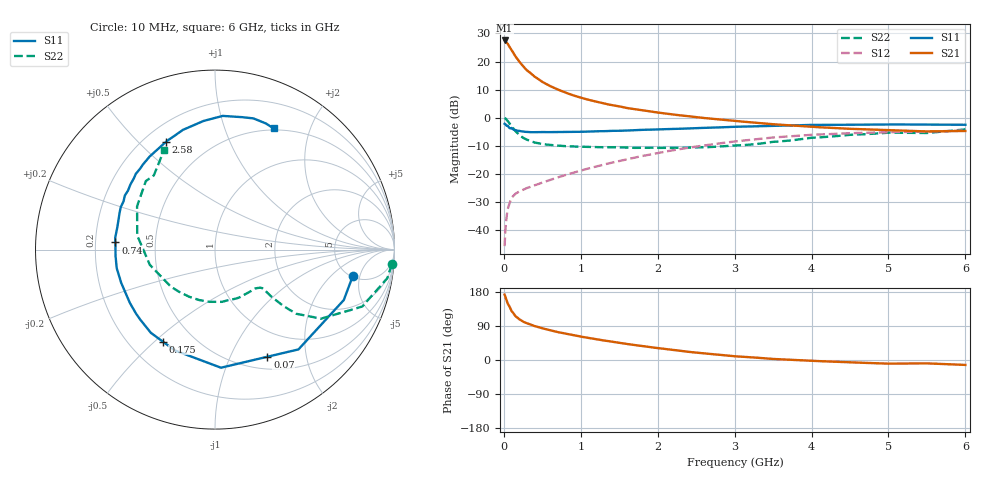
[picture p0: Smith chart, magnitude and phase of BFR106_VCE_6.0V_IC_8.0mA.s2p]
! Infineon Technologies  Discrete & RF Semiconductors
! BFR106
! VCE =  6.0 V,  IC =  8.0 mA
! Common Emitter S-Parameters:  Nov 2015
# GHz  S  MA  R  50
!  f  S11  S21  S12  S22
! GHz  MAG  ANG  MAG  ANG  MAG  ANG  MAG  ANG
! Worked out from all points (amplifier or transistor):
!   210 points, 10 MHz to 6 GHz, reference 50 ohm
!   highest |S21| = 27.5 dB at 10 MHz (marker M1)
!   |S21| within 3 dB of that: start of sweep to 90.42 MHz
!   unconditionally stable (mu >= 1): 545.6 MHz to 1.922 GHz; 5.24 GHz to end of sweep
!   at 185 MHz: K = 0.50, MSG = 23.5 dB, |S12| = -26.5 dB
!   at 1.52 GHz: K = 1.08, MAG = 7.9 dB, |S12| = -15.2 dB
!   at 6 GHz: K = 1.01, MAG = -0.8 dB, |S12| = -4.5 dB
!   S11 on the Smith chart (normalised r, x): 10 MHz: 5.13, -3.89; 70 MHz: 0.65, -1.39; 175 MHz: 0.34, -0.53; 740 MHz: 0.29, +0.03; 2.58 GHz: 0.29, +0.60; 6 GHz: 0.48, +1.48
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0.01  0.7816 -10.9  23.7 172.5  0.0052 87.9  0.9888 -4.7
0.02  0.7706 -21.4  23.2 166.8  0.0101 79.3  0.9733 -9.4
0.05  0.7249 -50.1  20.69 149.1  0.0236 66.9  0.88 -21.1
0.07  0.6646 -63.9  18.59 142.3  0.029 59.7  0.806 -25.3
0.1  0.6589 -87.1  16.08 129.2  0.0376 53.0  0.7051 -33.1
0.15  0.6046 -111.7  12.38 115.7  0.0444 47.1  0.577 -38.3
0.175  0.5893 -119.5  11.16 112.1  0.0466 46.3  0.5367 -38.9
0.2  0.5854 -127.6  9.998 107.6  0.0488 45.5  0.4965 -39.5
0.24  0.5706 -136.9  8.578 102.6  0.0517 45.2  0.4512 -39.7
0.3  0.5595 -148.0  6.988 96.6  0.0562 46.1  0.4068 -39.8
0.4  0.5545 -160.5  5.389 89.5  0.0627 48.7  0.3623 -39.2
0.5  0.5572 -169.3  4.345 83.5  0.0703 51.8  0.3396 -39.2
0.6  0.5553 -176.4  3.669 78.3  0.078 54.2  0.3286 -40.2
0.74  0.5564 175.9  3.029 72.2  0.0903 57.6  0.3167 -42.7
1.02  0.5635 162.6  2.236 61.1  0.1172 61.5  0.3054 -49.3
1.4  0.5858 149.0  1.679 48.6  0.1584 63.2  0.2994 -61.8
2.02  0.622 129.9  1.228 30.9  0.2385 60.2  0.2913 -88.0
2.58  0.6593 114.6  0.998 17.8  0.3182 53.7  0.2983 -116.6
3.1  0.6947 103.0  0.855 8.6  0.3912 45.3  0.3253 -146.0
4.1  0.7463 85.3  0.678 -3.0  0.5033 27.3  0.4475 165.6
5.1  0.7603 72.6  0.596 -9.5  0.5559 11.2  0.5407 134.2
6  0.7499 64.2  0.582 -13.0  0.5967 -0.1  0.6219 117.2
